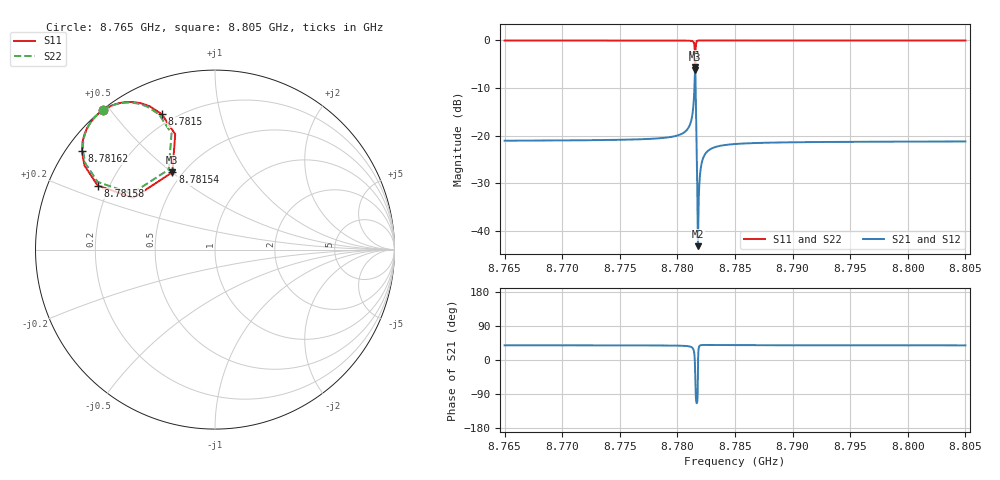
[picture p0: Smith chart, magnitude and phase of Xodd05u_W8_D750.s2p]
! Sonnet Data File
! From: emgraph Version : 16.52
! From Project: Qubit_Xmon2_brg_para2
! Data is De-embedded
! Data File Written: 11/12/2017 21:29:58
!< HDATE 11/12/2017 19:10:47
!< MDATE 11/12/2017 19:10:47
!< PARAMS
!< Lj = 11.0
!< Gap = 6.0
!< Pwid = 2000.0
!< Airgap = 6.0
!< Width = 10.0
!< Bwid = 8.0
!< Dis1 = 750.0
!< Dis2 = 756.0
!< END PARAMS
# GHZ S MA R 34.65000
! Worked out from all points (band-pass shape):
!   2001 points, 8.765 GHz to 8.805 GHz, reference 34.65 ohm
!   highest |S21| = -5.57 dB at 8.78154 GHz (marker M1); lowest = -43.1 dB at 8.78178 GHz (marker M2)
!   |S21| within 3 dB of the highest: 8.781495 GHz to 8.781577 GHz (82.06 kHz wide, 0.000934 % of centre)
!   lowest |S11| = -6.2 dB at 8.78154 GHz (marker M3), VSWR 2.94, Z = 15.3 + j17.4 ohm
!   |S11| at or under -10 dB: nowhere
!   |S22| runs from -5.8 to 0.0 dB; largest |S21 - S12| = 0
!   S11 on the Smith chart (normalised r, x): 8.765 GHz: 0.00, +0.48; 8.7815 GHz: 0.15, +0.67; 8.78154 GHz: 0.44, +0.50; 8.78158 GHz: 0.16, +0.25; 8.78162 GHz: 0.04, +0.33; 8.805 GHz: 0.00, +0.48
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8.765  0.9961 128.7  0.08874 38.8  0.08874 38.8  0.9961 128.8
!< P1 F=8.765 Eeff=(5.13709823 -5.6953e-5) Z0=(34.64455 -9.67e-5) R=0.0 C=0.0
!< P2 F=8.765 Eeff=(5.13709823 -5.6953e-5) Z0=(34.64455 -9.67e-5) R=0.0 C=0.0
8.77168  0.996 128.7  0.08964 38.7  0.08964 38.7  0.996 128.7
8.77834  0.9955 128.4  0.09394 38.4  0.09394 38.4  0.9955 128.4
8.78068  0.9933 127.4  0.1107 37.2  0.1107 37.2  0.9934 127.5
8.78108  0.9898 126.2  0.1301 35.5  0.1301 35.5  0.9899 126.4
8.7813  0.98 124.1  0.1662 32.1  0.1662 32.1  0.9803 124.3
8.7814  0.9601 121.2  0.215 27.1  0.215 27.1  0.9609 121.6
8.7815  0.8104 111.4  0.3886 4.7  0.3886 4.7  0.8162 112.5
8.78154  0.492 118.9  0.5267 -32.6  0.5267 -32.6  0.5153 120.0
8.78158  0.7448 151.4  0.357 -83.9  0.357 -83.9  0.7552 150.0
8.78162  0.9221 143.5  0.1749 -105.8  0.1749 -105.8  0.9253 142.8
8.78172  0.9869 135.5  0.03094 -111.0  0.03094 -111.0  0.9875 135.2
8.78178  0.9929 133.8  0.006964 -37.7  0.006964 -37.7  0.9933 133.6
8.78184  0.9953 132.8  0.01919 29.5  0.01919 29.5  0.9956 132.6
8.78192  0.9967 131.9  0.03359 37.2  0.03359 37.2  0.9968 131.8
8.78206  0.9974 131.0  0.04834 39.3  0.04834 39.3  0.9974 130.9
8.78216  0.9975 130.7  0.05478 39.6  0.05478 39.6  0.9975 130.6
8.78268  0.9972 129.8  0.06995 39.5  0.06995 39.5  0.9973 129.7
8.785  0.9966 129.0  0.08195 39.0  0.08195 39.0  0.9966 129.1
8.79168  0.9963 128.8  0.08587 38.8  0.08587 38.8  0.9963 128.8
8.79834  0.9962 128.7  0.08674 38.7  0.08674 38.7  0.9962 128.7
8.805  0.9962 128.6  0.08716 38.6  0.08716 38.6  0.9962 128.7
